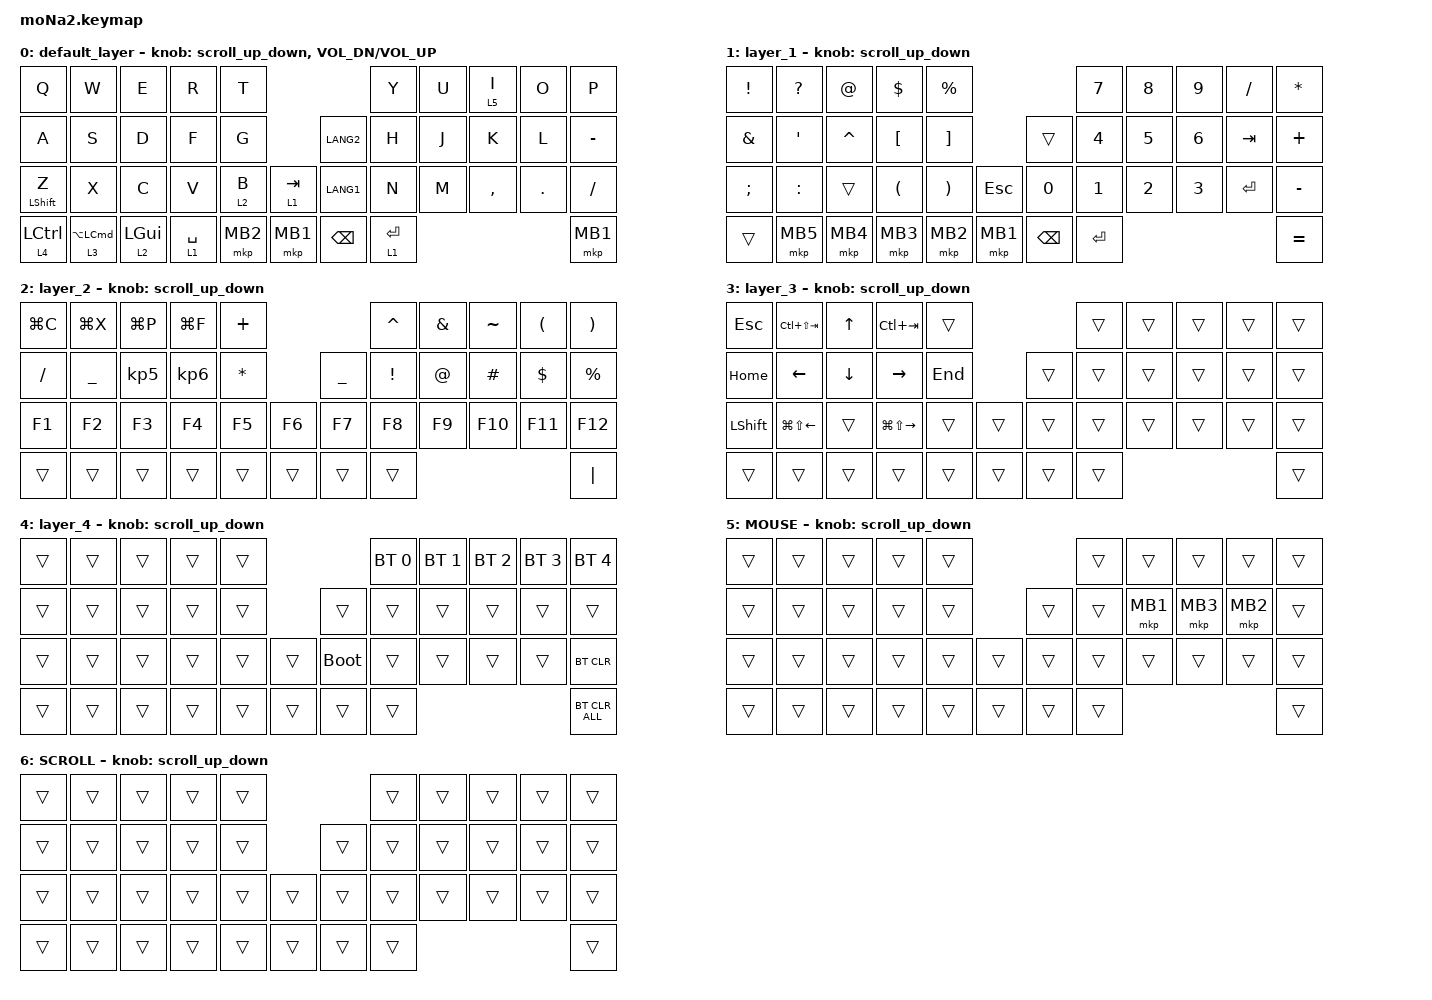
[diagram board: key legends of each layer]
#include <behaviors.dtsi>
#include <dt-bindings/zmk/bt.h>
#include <dt-bindings/zmk/keys.h>
#include <dt-bindings/zmk/pointing.h>

#define ZMK_POINTING_DEFAULT_SCRL_VAL 100
#define MOUSE 5
#define SCROLL 6

&mt {
    flavor = "balanced";
    quick-tap-ms = <0>;
};

/ {
    combos { compatible = "zmk,combos"; };

    macros {
        to_layer_0: to_layer_0 {
            compatible = "zmk,behavior-macro-one-param";
            #binding-cells = <1>;
            bindings = <&to 0 &macro_param_1to1 &kp MACRO_PLACEHOLDER>;
            label = "TO_LAYER_0";
        };
    };

    behaviors {
        lt_to_layer_0: lt_to_layer_0 {
            compatible = "zmk,behavior-hold-tap";
            label = "LAYER_TAP_TO_0";
            bindings = <&mo>, <&to_layer_0>;

            #binding-cells = <2>;
            tapping-term-ms = <200>;
        };

        scroll_up_down: behavior_sensor_rotate_mouse_wheel_up_down {
            compatible = "zmk,behavior-sensor-rotate";
            #sensor-binding-cells = <0>;
            bindings = <&msc SCRL_UP>, <&msc SCRL_DOWN>;

            tap-ms = <20>;
        };
    };

    keymap {
        compatible = "zmk,keymap";

        default_layer {
            bindings = <
&kp Q                          &kp W                              &kp E                      &kp R                   &kp T                                                      &kp Y        &kp U  &lt 5 I    &kp O    &kp P
&kp A                          &kp S                              &kp D                      &kp F                   &kp G                                       &kp LANG2      &kp H        &kp J  &kp K      &kp L    &kp MINUS
&mt LEFT_SHIFT Z               &kp X                              &kp C                      &kp V                   &lt_to_layer_0 2 B  &lt_to_layer_0 1 TAB    &kp LANG1      &kp N        &kp M  &kp COMMA  &kp DOT  &kp SLASH
&lt_to_layer_0 4 LEFT_CONTROL  &lt_to_layer_0 3 LA(LEFT_COMMAND)  &lt_to_layer_0 2 LEFT_GUI  &lt_to_layer_0 1 SPACE  &mkp MB2            &mkp MB1                &kp BACKSPACE  &lt 1 ENTER                             &mkp MB1
            >;

            sensor-bindings =
                <&scroll_up_down>,
                <&inc_dec_kp C_VOL_DN C_VOL_UP>;
        };

        layer_1 {
            bindings = <
&kp EXCLAMATION  &kp QUESTION  &kp AT_SIGN  &kp DOLLAR            &kp PERCENT                                         &kp N7        &kp N8        &kp N9        &kp SLASH  &kp ASTERISK
&kp AMPERSAND    &kp SQT       &kp CARET    &kp LEFT_BRACKET      &kp RIGHT_BRACKET                    &trans         &kp NUMBER_4  &kp N5        &kp NUMBER_6  &kp TAB    &kp PLUS
&kp SEMICOLON    &kp COLON     &trans       &kp LEFT_PARENTHESIS  &kp RIGHT_PARENTHESIS  &kp ESCAPE    &kp N0         &kp NUMBER_1  &kp NUMBER_2  &kp NUMBER_3  &kp ENTER  &kp MINUS
&trans           &mkp MB5      &mkp MB4     &mkp MB3              &mkp MB2               &mkp MB1      &kp BACKSPACE  &kp ENTER                                            &kp EQUAL
            >;

            sensor-bindings = <&scroll_up_down>;
        };

        layer_2 {
            bindings = <
&kp LG(C)  &kp LG(X)       &kp LG(P)        &kp LG(F)        &kp PLUS                                &kp CARET        &kp AMPERSAND  &kp TILDE  &kp LEFT_PARENTHESIS  &kp RIGHT_PARENTHESIS
&kp SLASH  &kp UNDERSCORE  &kp KP_NUMBER_5  &kp KP_NUMBER_6  &kp ASTERISK            &kp UNDERSCORE  &kp EXCLAMATION  &kp AT_SIGN    &kp HASH   &kp DOLLAR            &kp PERCENT
&kp F1     &kp F2          &kp F3           &kp F4           &kp F5        &kp F6    &kp F7          &kp F8           &kp F9         &kp F10    &kp F11               &kp F12
&trans     &trans          &trans           &trans           &trans        &trans    &trans          &trans                                                           &kp PIPE
            >;

            sensor-bindings = <&scroll_up_down>;
        };

        layer_3 {
            bindings = <
&kp ESCAPE      &kp LC(LS(TAB))         &kp UP_ARROW    &kp LC(TAB)              &trans                     &trans  &trans  &trans  &trans  &trans
&kp HOME        &kp LEFT_ARROW          &kp DOWN_ARROW  &kp RIGHT_ARROW          &kp END            &trans  &trans  &trans  &trans  &trans  &trans
&kp LEFT_SHIFT  &kp LG(LS(LEFT_ARROW))  &trans          &kp LG(LS(RIGHT_ARROW))  &trans   &trans    &trans  &trans  &trans  &trans  &trans  &trans
&trans          &trans                  &trans          &trans                   &trans   &trans    &trans  &trans                          &trans
            >;

            sensor-bindings = <&scroll_up_down>;
        };

        layer_4 {
            bindings = <
&trans  &trans  &trans  &trans  &trans                         &bt BT_SEL 0  &bt BT_SEL 1  &bt BT_SEL 2  &bt BT_SEL 3  &bt BT_SEL 4
&trans  &trans  &trans  &trans  &trans            &trans       &trans        &trans        &trans        &trans        &trans
&trans  &trans  &trans  &trans  &trans  &trans    &bootloader  &trans        &trans        &trans        &trans        &bt BT_CLR
&trans  &trans  &trans  &trans  &trans  &trans    &trans       &trans                                                  &bt BT_CLR_ALL
            >;

            sensor-bindings = <&scroll_up_down>;
        };

        MOUSE {
            bindings = <
&trans  &trans  &trans  &trans  &trans                    &trans  &trans    &trans    &trans    &trans
&trans  &trans  &trans  &trans  &trans            &trans  &trans  &mkp MB1  &mkp MB3  &mkp MB2  &trans
&trans  &trans  &trans  &trans  &trans  &trans    &trans  &trans  &trans    &trans    &trans    &trans
&trans  &trans  &trans  &trans  &trans  &trans    &trans  &trans                                &trans
            >;

            sensor-bindings = <&scroll_up_down>;
        };

        SCROLL {
            bindings = <
&trans  &trans  &trans  &trans  &trans                    &trans  &trans  &trans  &trans  &trans
&trans  &trans  &trans  &trans  &trans            &trans  &trans  &trans  &trans  &trans  &trans
&trans  &trans  &trans  &trans  &trans  &trans    &trans  &trans  &trans  &trans  &trans  &trans
&trans  &trans  &trans  &trans  &trans  &trans    &trans  &trans                          &trans
            >;

            sensor-bindings = <&scroll_up_down>;
        };
    };
};
